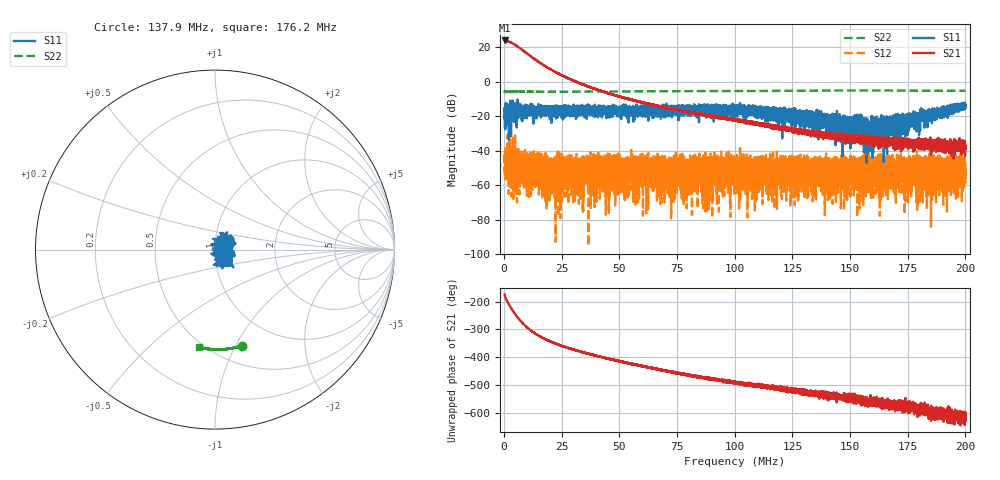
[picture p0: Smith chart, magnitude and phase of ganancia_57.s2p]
# Hz S DB R 50
! CMT, M5065, 19127446, 24.2.4/2
! Date: 11/8/2024 4:24:53 PM
! Data: Format (Calibration Info)
! Freq	S11:dB/Ang(F2)	S21:dB/Ang(F2)	S12:dB/Ang(F2)	S22:dB/Ang(F2)
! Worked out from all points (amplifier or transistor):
!   9000 points, 300 kHz to 200 MHz, reference 50 ohm
!   highest |S21| = 23.9 dB at 477.5 kHz (marker M1)
!   |S21| within 3 dB of that: start of sweep to 5.421 MHz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
!   unconditionally stable (mu >= 1): start of sweep to end of sweep
!   at 33.59 MHz: K = 130.90, MAG = 0.2 dB, |S12| = -50.0 dB
!   at 100.2 MHz: K = 3217.31, MAG = -20.7 dB, |S12| = -57.1 dB
!   at 200 MHz: K = 19314.59, MAG = -36.4 dB, |S12| = -57.1 dB
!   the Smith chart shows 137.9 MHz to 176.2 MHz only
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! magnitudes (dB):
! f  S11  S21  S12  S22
! 300 kHz  -19.6  23.9  -54.3  -5.8
! 477.5 kHz  -20.7  23.9  -41.0  -5.8
! 1.343 MHz  -17.4  23.7  -50.9  -5.8
! 2.541 MHz  -13.9  23.1  -49.0  -5.8
! 20.14 MHz  -19.3  7.2  -50.7  -5.8
! 33.59 MHz  -17.4  -1.2  -50.0  -5.7
! 66.87 MHz  -14.7  -14.2  -49.1  -5.5
! 77.86 MHz  -14.0  -16.7  -71.6  -5.5
! 80.37 MHz  -16.1  -17.4  -50.7  -5.5
! 100.2 MHz  -15.1  -22.3  -57.1  -5.4
! 104.7 MHz  -18.1  -22.9  -59.2  -5.4
! 108 MHz  -16.4  -23.3  -48.7  -5.4
! 118.7 MHz  -23.0  -26.7  -49.7  -5.3
! 133.4 MHz  -21.5  -29.2  -48.7  -5.1
! 136.4 MHz  -23.6  -29.5  -54.8  -5.1
! 147.6 MHz  -24.1  -32.3  -55.6  -5.1
! 154.5 MHz  -27.4  -34.5  -50.8  -5.1
! 158 MHz  -27.3  -33.5  -44.6  -5.1
! 166.7 MHz  -23.6  -33.1  -46.9  -5.1
! 186.7 MHz  -19.4  -35.9  -59.0  -5.2
! 198.8 MHz  -13.1  -36.7  -51.6  -5.3
! 200 MHz  -13.3  -38.2  -57.1  -5.3
